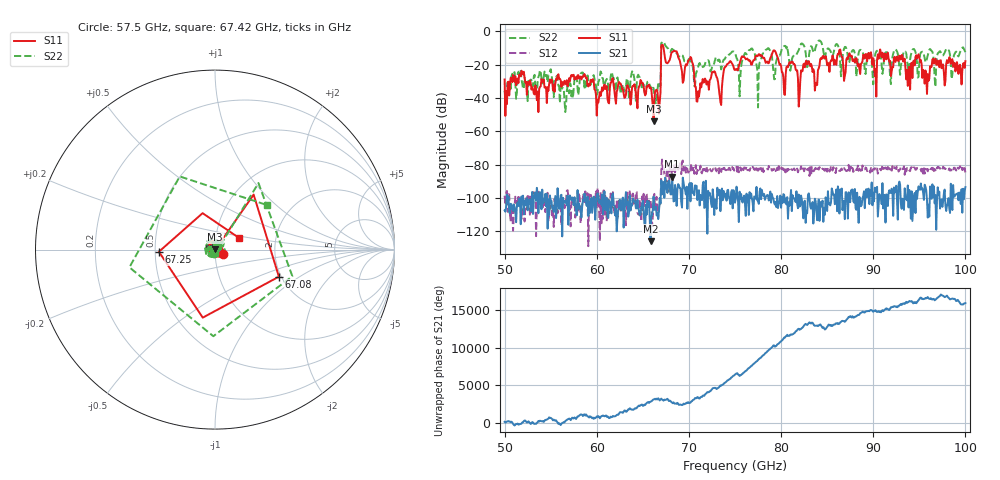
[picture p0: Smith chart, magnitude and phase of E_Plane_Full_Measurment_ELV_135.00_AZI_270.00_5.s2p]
! 11/26/2026 2:52:33 PM
! C:\ANRITSUVNA\TEMP\TEMP.S2P
! CHANNEL.1
! TR.MEASUREMENT
! RAW.DATA
# HZ S RI R 50.0
! FREQ.HZ  S11RE  S11IM  S21RE  S21IM  S12RE  S12IM  S22RE  S22IM
!; PortSelection: Port_12
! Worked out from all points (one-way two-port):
!   601 points, 50 GHz to 100 GHz, reference 50 ohm
!   highest |S21| = -87.13 dB at 68.17 GHz (marker M1); lowest = -126.0 dB at 65.83 GHz (marker M2)
!   lowest |S11| = -54.0 dB at 66.17 GHz (marker M3), VSWR 1.00, Z = 50.1 + j0.144 ohm
!   |S11| at or under -10 dB: start of sweep to 67 GHz; 67.25 GHz to end of sweep
!   |S22| runs from -48.5 to -5.6 dB; largest |S21 - S12| = 0.00016
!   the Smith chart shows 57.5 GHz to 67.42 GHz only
!   S11 on the Smith chart (normalised r, x): 57.5 GHz: 1.09, -0.05; 67.08 GHz: 1.94, -0.69; 67.25 GHz: 0.52, -0.01; 67.42 GHz: 1.29, +0.17
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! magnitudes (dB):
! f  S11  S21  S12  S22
! 50 GHz  -29.0  -107.4  -98.6  -35.7
! 57.5 GHz  -26.1  -104.3  -104.1  -34.6
! 58.42 GHz  -27.2  -105.2  -103.9  -24.8
! 60.17 GHz  -42.8  -98.4  -100.3  -30.4
! 65.83 GHz  -33.8  -126.0  -101.6  -33.2
! 66.17 GHz  -54.0  -99.2  -99.2  -34.1
! 66.67 GHz  -41.5  -112.6  -111.9  -31.6
! 67.08 GHz  -8.3  -92.0  -77.0  -6.8
! 67.25 GHz  -10.1  -90.4  -80.3  -6.2
! 67.42 GHz  -16.6  -87.8  -86.0  -8.3
! 68.17 GHz  -12.5  -87.1  -86.7  -10.6
! 70.25 GHz  -15.9  -91.0  -79.5  -18.8
! 70.92 GHz  -42.2  -101.2  -83.3  -23.2
! 75 GHz  -23.3  -102.8  -82.3  -13.0
! 79.25 GHz  -11.5  -102.9  -82.6  -28.9
! 80.25 GHz  -27.9  -97.7  -83.2  -9.3
! 83.42 GHz  -24.5  -102.4  -83.2  -10.8
! 91.67 GHz  -16.7  -96.9  -82.1  -15.2
! 93.75 GHz  -32.8  -92.5  -82.8  -21.3
! 94.83 GHz  -15.0  -96.3  -82.0  -27.8
! 95.83 GHz  -37.6  -101.2  -82.7  -16.5
! 100 GHz  -18.0  -93.5  -84.6  -12.6
